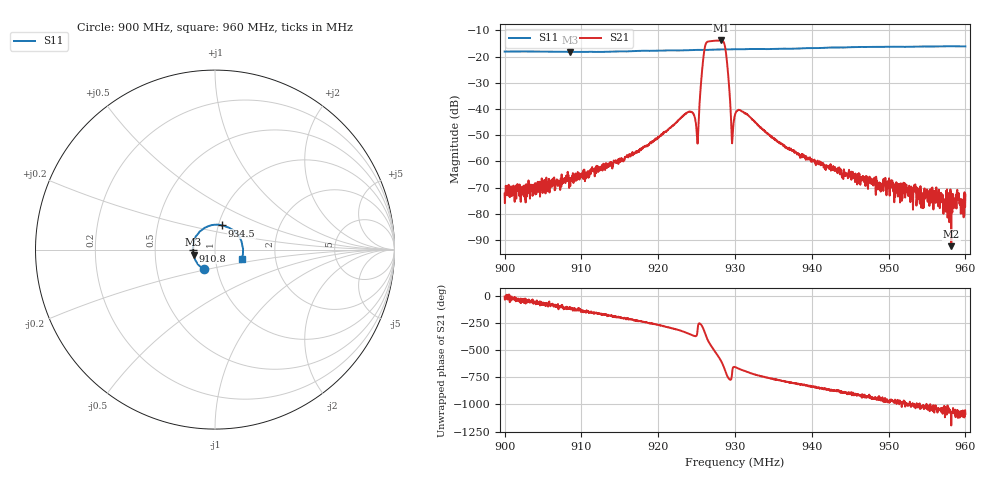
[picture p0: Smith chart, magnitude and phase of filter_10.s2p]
!Agilent Technologies,E5071C,MY46214392,A.11.36
!Date: Thu Feb 26 21:32:21 2026
!Data & Calibration Information:
!Freq	S11:NONE(--)	S21:NONE(--)	S12:NONE(--)	S22:NONE(--)
!PortZ  Port1:50+j0  Port2:50+j0
!Above PortZ is port z conversion or system Z0 setting when saving the data.
!When reading, reference impedance value at option line is always used.
# Hz S dB R 50
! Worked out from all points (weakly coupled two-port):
!   1601 points, 900 MHz to 960 MHz, reference 50 ohm
!   highest |S21| = -13.82 dB at 928.2 MHz (marker M1); lowest = -92.4 dB at 958.2 MHz (marker M2)
!   lowest |S11| = -18.2 dB at 908.5 MHz (marker M3), VSWR 1.28, Z = 39.3 - j2.29 ohm
!   |S11| at or under -10 dB: start of sweep to end of sweep
!   S12 and S22 are empty: the file has one direction only
!   S11 on the Smith chart (normalised r, x): 900 MHz: 0.86, -0.19; 910.8 MHz: 0.78, -0.01; 934.5 MHz: 1.04, +0.28; 960 MHz: 1.34, -0.14
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9e8  -18.07 -120.1  -72.32 -8.4  -200.00 0.0  -200.00 0.0
9.0855e8  -18.21 -166.5  -69.47 -106.4  -200.00 0.0  -200.00 0.0
9.100125e8  -18.18 -173.9  -64.58 -135.5  -200.00 0.0  -200.00 0.0
9.108e8  -18.14 -177.9  -65.28 -146.8  -200.00 0.0  -200.00 0.0
9.20025e8  -17.76 136.7  -50.61 90.2  -200.00 0.0  -200.00 0.0
9.239625e8  -17.51 118.8  -41.11 10.0  -200.00 0.0  -200.00 0.0
9.250125e8  -17.43 113.8  -48.77 -6.1  -200.00 0.0  -200.00 0.0
9.25275e8  -17.43 112.6  -44.01 102.4  -200.00 0.0  -200.00 0.0
9.257625e8  -17.42 110.3  -23.78 72.9  -200.00 0.0  -200.00 0.0
9.26175e8  -17.45 108.9  -15.30 -1.9  -200.00 0.0  -200.00 0.0
9.26925e8  -17.34 105.7  -14.06 -105.6  -200.00 0.0  -200.00 0.0
9.276e8  -17.29 102.8  -13.88 -175.2  -200.00 0.0  -200.00 0.0
9.281625e8  -17.23 100.3  -13.82 122.0  -200.00 0.0  -200.00 0.0
9.288375e8  -17.22 97.0  -18.86 4.9  -200.00 0.0  -200.00 0.0
9.295875e8  -17.21 94.1  -51.74 -19.9  -200.00 0.0  -200.00 0.0
9.3e8  -17.19 92.4  -42.19 62.8  -200.00 0.0  -200.00 0.0
9.30825e8  -17.16 88.9  -40.74 37.7  -200.00 0.0  -200.00 0.0
9.345375e8  -17.11 74.4  -49.97 -40.2  -200.00 0.0  -200.00 0.0
9.400125e8  -16.75 54.6  -60.06 -116.5  -200.00 0.0  -200.00 0.0
9.50025e8  -16.23 17.8  -68.06 109.8  -200.00 0.0  -200.00 0.0
9.581625e8  -16.04 -12.1  -92.40 -114.2  -200.00 0.0  -200.00 0.0
9.6e8  -16.09 -19.3  -72.74 -7.9  -200.00 0.0  -200.00 0.0
